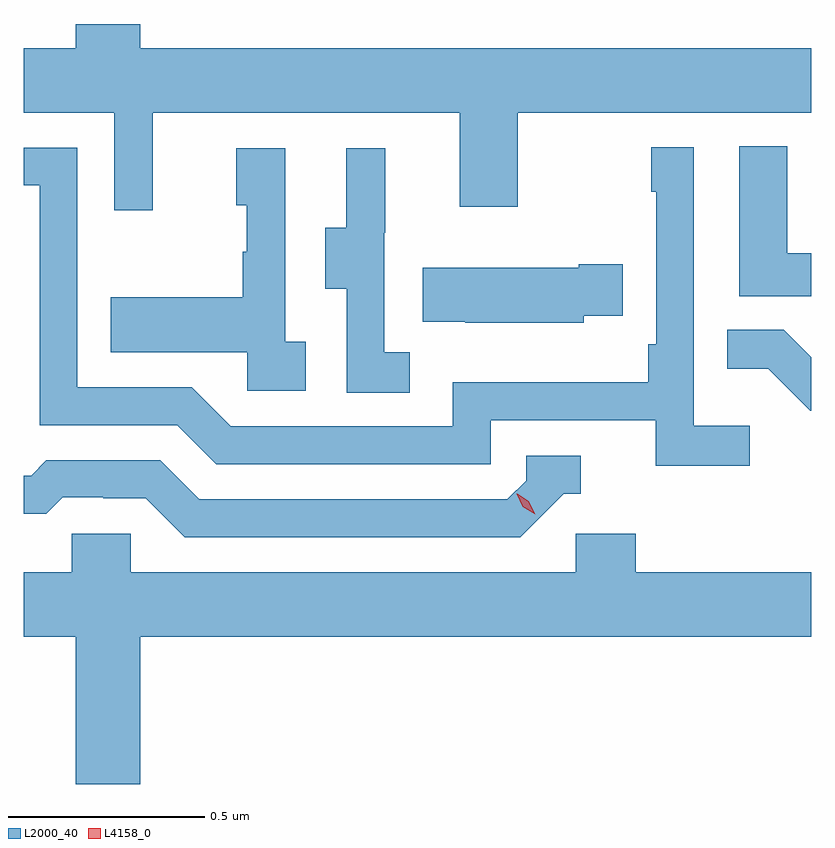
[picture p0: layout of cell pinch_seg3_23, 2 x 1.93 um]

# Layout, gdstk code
import gdstk
lib = gdstk.Library(unit=1e-6, precision=1e-09)
def P(c, l, *ps):  # polygons
    for p in ps: c.add(gdstk.Polygon(p, *l))
L2000_40 = (2000, 40)
L4158_0 = (4158, 0)

pinch_seg3_23 = lib.new_cell('pinch_seg3_23')
P(pinch_seg3_23, L2000_40, [(1112.255,731.552),(1113.035,731.552),(1113.035,731.313),(1113.183,731.313),(1113.183,731.552),(1113.928,731.552),(1113.928,731.716),(1112.224,731.716),(1112.224,731.777),(1112.06,731.777),(1112.06,731.716),(1111.928,731.716),(1111.928,731.552),(1112.157,731.552),(1112.157,731.304),(1112.255,731.304)],
  [(1113.928,731.194),(1113.868,731.194),(1113.868,731.467),(1113.746,731.467),(1113.746,731.085),(1113.928,731.085)],
  [(1113.772,730.756),(1113.63,730.756),(1113.63,731.464),(1113.522,731.464),(1113.522,731.351),(1113.534,731.351),(1113.534,730.963),(1113.514,730.963),(1113.514,730.867),(1113.018,730.867),(1113.018,730.755),(1112.454,730.755),(1112.355,730.854),(1112.064,730.854),(1112.064,731.463),(1111.928,731.463),(1111.928,731.367),(1111.968,731.367),(1111.968,730.758),(1112.318,730.758),(1112.417,730.659),(1113.114,730.659),(1113.114,730.77),(1113.533,730.77),(1113.533,730.654),(1113.772,730.654)],
  [(1112.908,730.943),(1112.844,730.943),(1112.844,731.247),(1112.846,731.247),(1112.846,731.461),(1112.747,731.461),(1112.747,731.259),(1112.693,731.259),(1112.693,731.104),(1112.748,731.104),(1112.748,730.84),(1112.908,730.84)],
  [(1112.644,730.97),(1112.592,730.97),(1112.592,731.461),(1112.468,731.461),(1112.468,731.316),(1112.494,731.316),(1112.494,731.198),(1112.484,731.198),(1112.484,731.083),(1112.149,731.083),(1112.149,730.943),(1112.496,730.943),(1112.496,730.845),(1112.644,730.845)],
  [(1113.351,731.036),(1113.449,731.036),(1113.449,731.166),(1113.338,731.166),(1113.338,731.158),(1112.941,731.158),(1112.941,731.021),(1113.049,731.021),(1113.049,731.018),(1113.351,731.018)],
  [(1113.928,730.93),(1113.858,731),(1113.715,731),(1113.715,730.901),(1113.819,730.901),(1113.926,730.794),(1113.928,730.794)],
  [(1113.3,730.584),(1113.343,730.584),(1113.343,730.68),(1113.204,730.68),(1113.204,730.617),(1113.156,730.569),(1112.373,730.569),(1112.274,730.668),(1111.985,730.668),(1111.946,730.629),(1111.928,730.629),(1111.928,730.533),(1111.985,730.533),(1112.027,730.575),(1112.13,730.575),(1112.13,730.572),(1112.237,730.572),(1112.336,730.473),(1113.189,730.473)],
  [(1112.224,730.22),(1113.928,730.22),(1113.928,730.384),(1113.482,730.384),(1113.482,730.482),(1113.33,730.482),(1113.33,730.384),(1112.199,730.384),(1112.199,730.482),(1112.049,730.482),(1112.049,730.384),(1111.928,730.384),(1111.928,730.22),(1112.06,730.22),(1112.06,729.846),(1112.224,729.846)])
P(pinch_seg3_23, L4158_0, [(1113.227,730.531),(1113.196,730.55),(1113.18,730.583),(1113.18,730.583),(1113.181,730.583),(1113.211,730.564),(1113.227,730.532),(1113.227,730.531)])

lib.write_gds('pinch_seg3_23.gds')
